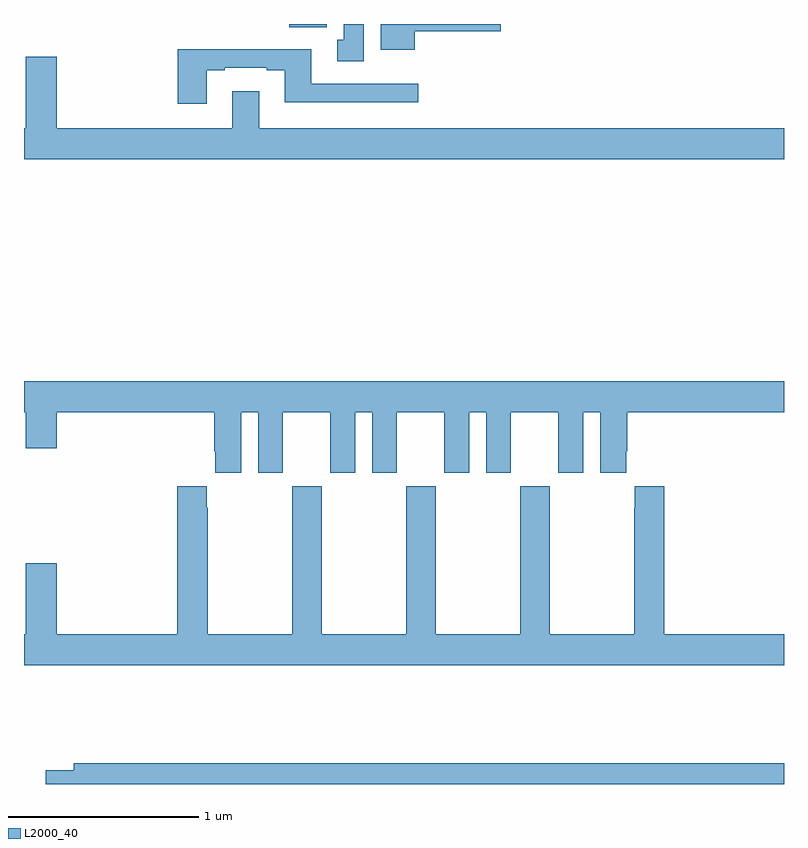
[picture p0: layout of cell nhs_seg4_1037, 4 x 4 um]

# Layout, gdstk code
import gdstk
lib = gdstk.Library(unit=1e-6, precision=1e-09)
def R(c, l, rs):  # rectangles x0, y0, x1, y1
    for r in rs: c.add(gdstk.rectangle(r[:2], r[2:], *l))
def P(c, l, *ps):  # polygons
    for p in ps: c.add(gdstk.Polygon(p, *l))
L2000_40 = (2000, 40)

nhs_seg4_1037 = lib.new_cell('nhs_seg4_1037')
R(nhs_seg4_1037, L2000_40, [(166.397,762.884,166.594,762.9)])
P(nhs_seg4_1037, L2000_40, [(166.789,762.9),(166.682,762.9),(166.682,762.818),(166.649,762.818),(166.649,762.705),(166.789,762.705)],
  [(167.056,762.863),(167.509,762.863),(167.509,762.9),(166.877,762.9),(166.877,762.764),(167.056,762.764)],
  [(165.961,762.657),(166.057,762.657),(166.057,762.669),(166.277,762.669),(166.277,762.657),(166.373,762.657),(166.373,762.488),(167.074,762.488),(167.074,762.585),(166.513,762.585),(166.513,762.766),(165.809,762.766),(165.809,762.48),(165.961,762.48)],
  [(169,762.352),(166.237,762.352),(166.237,762.547),(166.097,762.547),(166.097,762.352),(165.172,762.352),(165.172,762.727),(165.008,762.727),(165.008,762.352),(165,762.352),(165,762.188),(169,762.188)],
  [(165,760.856),(165.008,760.856),(165.008,760.668),(165.172,760.668),(165.172,760.856),(166.001,760.856),(166.001,760.651),(166.007,760.651),(166.007,760.539),(166.144,760.539),(166.144,760.856),(166.232,760.856),(166.232,760.539),(166.363,760.539),(166.363,760.856),(166.613,760.856),(166.613,760.539),(166.744,760.539),(166.744,760.856),(166.832,760.856),(166.832,760.539),(166.963,760.539),(166.963,760.856),(167.213,760.856),(167.213,760.539),(167.344,760.539),(167.344,760.856),(167.432,760.856),(167.432,760.539),(167.563,760.539),(167.563,760.856),(167.813,760.856),(167.813,760.539),(167.944,760.539),(167.944,760.856),(168.032,760.856),(168.032,760.539),(168.169,760.539),(168.169,760.651),(168.176,760.651),(168.176,760.856),(169,760.856),(169,761.02),(165,761.02)],
  [(169,759.688),(168.371,759.688),(168.371,760.468),(168.215,760.468),(168.215,760.355),(168.211,760.355),(168.211,759.688),(167.766,759.688),(167.766,760.468),(167.611,760.468),(167.611,759.688),(167.166,759.688),(167.166,760.468),(167.011,760.468),(167.011,759.688),(166.566,759.688),(166.566,760.468),(166.411,760.468),(166.411,759.688),(165.966,759.688),(165.966,760.355),(165.961,760.355),(165.961,760.468),(165.806,760.468),(165.806,759.688),(165.172,759.688),(165.172,760.063),(165.008,760.063),(165.008,759.688),(165,759.688),(165,759.524),(169,759.524)],
  [(169,759.008),(165.263,759.008),(165.263,758.972),(165.114,758.972),(165.114,758.9),(169,758.9)])

lib.write_gds('nhs_seg4_1037.gds')
